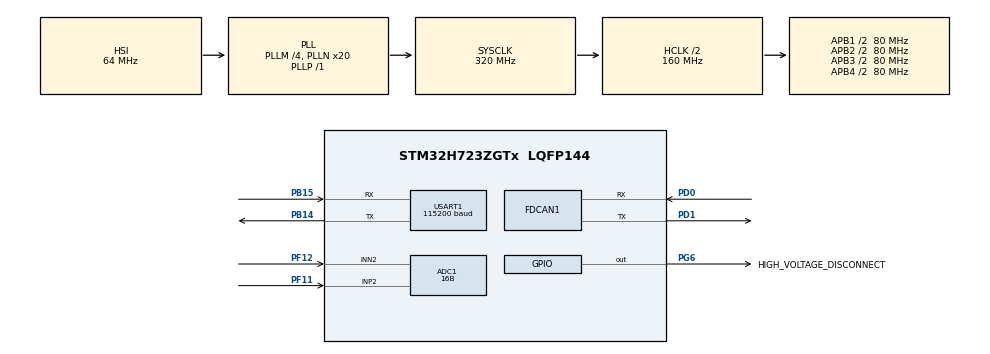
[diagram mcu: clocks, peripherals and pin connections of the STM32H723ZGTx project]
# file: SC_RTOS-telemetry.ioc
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ADC1.AWD1HighThreshold=400
ADC1.AWD1ITMode=ENABLE
ADC1.AWD1LowThreshold=0
ADC1.Channel-0\#ChannelRegularConversion=ADC_CHANNEL_2
ADC1.Channel-IN2-Differential=ADC_CHANNEL_2
ADC1.ClockPrescaler=ADC_CLOCK_ASYNC_DIV2
ADC1.ContinuousConvMode=DISABLE
ADC1.ConversionDataManagement=ADC_CONVERSIONDATA_DMA_CIRCULAR
ADC1.DiscontinuousConvMode=DISABLE
ADC1.EOCSelection=ADC_EOC_SINGLE_CONV
ADC1.EnableAnalogWatchDog1=true
ADC1.EnableAnalogWatchDog2=false
ADC1.EnableAnalogWatchDog3=false
ADC1.EnableInjectedConversion=DISABLE
ADC1.EnableRegularConversion=ENABLE
ADC1.ExternalTrigConv=ADC_EXTERNALTRIG_T2_TRGO
ADC1.ExternalTrigConvEdge=ADC_EXTERNALTRIGCONVEDGE_RISING
ADC1.LeftBitShift=ADC_LEFTBITSHIFT_NONE
ADC1.LowPowerAutoWait=DISABLE
ADC1.Mode=ADC_MODE_INDEPENDENT
ADC1.NbrOfConversion=1
ADC1.OffsetNumber-0\#ChannelRegularConversion=ADC_OFFSET_NONE
ADC1.OffsetSignedSaturation-0\#ChannelRegularConversion=DISABLE
ADC1.Overrun=ADC_OVR_DATA_PRESERVED
ADC1.OversamplingMode=DISABLE
ADC1.Rank-0\#ChannelRegularConversion=1
ADC1.Ratio=1
ADC1.Resolution=ADC_RESOLUTION_16B
ADC1.SamplingTime-0\#ChannelRegularConversion=ADC_SAMPLETIME_16CYCLES_5
ADC1.ScanConvMode=ADC_SCAN_DISABLE
ADC1.SingleDiff-0\#ChannelRegularConversion=ADC_DIFFERENTIAL_ENDED
ADC1.WatchdogChannel=ADC_CHANNEL_2
ADC1.WatchdogMode=ADC_ANALOGWATCHDOG_SINGLE_REG
ADC1.master=1
CORTEX_M7.CPU_DCache=Disabled
CORTEX_M7.CPU_ICache=Disabled
CORTEX_M7.MPU_Control=__NULL
CORTEX_M7.default_mode_Activation=1
Dma.ADC1.0.Direction=DMA_PERIPH_TO_MEMORY
Dma.ADC1.0.EventEnable=DISABLE
Dma.ADC1.0.FIFOMode=DMA_FIFOMODE_DISABLE
Dma.ADC1.0.Instance=DMA1_Stream1
Dma.ADC1.0.MemDataAlignment=DMA_MDATAALIGN_WORD
Dma.ADC1.0.MemInc=DMA_MINC_ENABLE
Dma.ADC1.0.Mode=DMA_CIRCULAR
Dma.ADC1.0.PeriphDataAlignment=DMA_PDATAALIGN_WORD
Dma.ADC1.0.PeriphInc=DMA_PINC_DISABLE
Dma.ADC1.0.Polarity=HAL_DMAMUX_REQ_GEN_RISING
Dma.ADC1.0.Priority=DMA_PRIORITY_MEDIUM
Dma.ADC1.0.RequestNumber=1
Dma.ADC1.0.SignalID=NONE
Dma.ADC1.0.SyncEnable=DISABLE
Dma.ADC1.0.SyncPolarity=HAL_DMAMUX_SYNC_NO_EVENT
Dma.ADC1.0.SyncRequestNumber=1
Dma.ADC1.0.SyncSignalID=NONE
Dma.Request0=ADC1
Dma.Request1=USART1_RX
Dma.USART1_RX.1.Direction=DMA_PERIPH_TO_MEMORY
Dma.USART1_RX.1.EventEnable=DISABLE
Dma.USART1_RX.1.FIFOMode=DMA_FIFOMODE_DISABLE
Dma.USART1_RX.1.Instance=DMA1_Stream0
Dma.USART1_RX.1.MemDataAlignment=DMA_MDATAALIGN_BYTE
Dma.USART1_RX.1.MemInc=DMA_MINC_ENABLE
Dma.USART1_RX.1.Mode=DMA_NORMAL
Dma.USART1_RX.1.PeriphDataAlignment=DMA_PDATAALIGN_BYTE
Dma.USART1_RX.1.PeriphInc=DMA_PINC_DISABLE
Dma.USART1_RX.1.Polarity=HAL_DMAMUX_REQ_GEN_RISING
Dma.USART1_RX.1.Priority=DMA_PRIORITY_LOW
Dma.USART1_RX.1.RequestNumber=1
Dma.USART1_RX.1.SignalID=NONE
Dma.USART1_RX.1.SyncEnable=DISABLE
Dma.USART1_RX.1.SyncPolarity=HAL_DMAMUX_SYNC_NO_EVENT
Dma.USART1_RX.1.SyncRequestNumber=1
Dma.USART1_RX.1.SyncSignalID=NONE
FDCAN1.CalculateBaudRateNominal=1666666
FDCAN1.CalculateTimeBitNominal=600
FDCAN1.CalculateTimeQuantumNominal=200.0
FREERTOS.HEAP_NUMBER=4
FREERTOS.INCLUDE_eTaskGetState=1
FREERTOS.INCLUDE_pcTaskGetTaskName=0
FREERTOS.INCLUDE_uxTaskGetStackHighWaterMark=1
FREERTOS.INCLUDE_uxTaskGetStackHighWaterMark2=0
FREERTOS.INCLUDE_uxTaskPriorityGet=1
FREERTOS.INCLUDE_vTaskCleanUpResources=0
FREERTOS.INCLUDE_vTaskDelay=1
FREERTOS.INCLUDE_vTaskDelayUntil=1
FREERTOS.INCLUDE_vTaskDelete=1
FREERTOS.INCLUDE_vTaskPrioritySet=1
FREERTOS.INCLUDE_vTaskSuspend=1
FREERTOS.INCLUDE_xEventGroupSetBitFromISR=0
FREERTOS.INCLUDE_xQueueGetMutexHolder=1
FREERTOS.INCLUDE_xSemaphoreGetMutexHolder=0
FREERTOS.INCLUDE_xTaskAbortDelay=0
FREERTOS.INCLUDE_xTaskGetCurrentTaskHandle=1
FREERTOS.INCLUDE_xTaskGetHandle=0
FREERTOS.INCLUDE_xTaskGetSchedulerState=1
FREERTOS.INCLUDE_xTaskResumeFromISR=1
FREERTOS.INCLUDE_xTimerPendFunctionCall=1
FREERTOS.Tasks01=defaultTask,24,128,StartDefaultTask,Default,NULL,Dynamic,NULL,NULL
FREERTOS.configCHECK_FOR_STACK_OVERFLOW=0
FREERTOS.configENABLE_BACKWARD_COMPATIBILITY=1
FREERTOS.configENABLE_FPU=0
FREERTOS.configGENERATE_RUN_TIME_STATS=0
FREERTOS.configIDLE_SHOULD_YIELD=1
FREERTOS.configLIBRARY_LOWEST_INTERRUPT_PRIORITY=15
FREERTOS.configLIBRARY_MAX_SYSCALL_INTERRUPT_PRIORITY=5
FREERTOS.configMAX_CO_ROUTINE_PRIORITIES=2
FREERTOS.configMAX_TASK_NAME_LEN=16
FREERTOS.configMINIMAL_STACK_SIZE=128
FREERTOS.configQUEUE_REGISTRY_SIZE=8
FREERTOS.configRECORD_STACK_HIGH_ADDRESS=0
FREERTOS.configTICK_RATE_HZ=1000
FREERTOS.configTIMER_QUEUE_LENGTH=10
FREERTOS.configTIMER_TASK_PRIORITY=2
FREERTOS.configTIMER_TASK_STACK_DEPTH=256
FREERTOS.configTOTAL_HEAP_SIZE=15360
FREERTOS.configUSE_APPLICATION_TASK_TAG=0
FREERTOS.configUSE_COUNTING_SEMAPHORES=1
FREERTOS.configUSE_CO_ROUTINES=0
FREERTOS.configUSE_DAEMON_TASK_STARTUP_HOOK=0
FREERTOS.configUSE_IDLE_HOOK=0
FREERTOS.configUSE_MALLOC_FAILED_HOOK=0
FREERTOS.configUSE_MUTEXES=1
FREERTOS.configUSE_NEWLIB_REENTRANT=0
FREERTOS.configUSE_OS2_EVENTFLAGS_FROM_ISR=1
FREERTOS.configUSE_OS2_MUTEX=1
FREERTOS.configUSE_OS2_THREAD_ENUMERATE=1
FREERTOS.configUSE_OS2_THREAD_FLAGS=1
FREERTOS.configUSE_OS2_THREAD_SUSPEND_RESUME=1
FREERTOS.configUSE_OS2_TIMER=1
FREERTOS.configUSE_POSIX_ERRNO=0
FREERTOS.configUSE_PREEMPTION=1
FREERTOS.configUSE_RECURSIVE_MUTEXES=1
FREERTOS.configUSE_STATS_FORMATTING_FUNCTIONS=0
FREERTOS.configUSE_TASK_NOTIFICATIONS=1
FREERTOS.configUSE_TICKLESS_IDLE=0
FREERTOS.configUSE_TICK_HOOK=0
FREERTOS.configUSE_TRACE_FACILITY=1
FREERTOS.copyHeapFile=1
IWDG1.Prescaler=IWDG_PRESCALER_4
IWDG1.Reload=4095
IWDG1.Window=4095
Mcu.Family=STM32H7
Mcu.Name=STM32H723ZGTx
Mcu.Package=LQFP144
NVIC.ADC_IRQn=true\:5\:0\:false\:false\:true\:true\:true\:true
NVIC.DMA1_Stream0_IRQn=true\:5\:0\:false\:false\:true\:true\:false\:true
NVIC.DMA1_Stream1_IRQn=true\:5\:0\:false\:false\:true\:true\:false\:true
NVIC.PriorityGroup=NVIC_PRIORITYGROUP_4
NVIC.TIM1_UP_IRQn=true\:15\:0\:false\:false\:true\:false\:true\:true
NVIC.TimeBase=TIM1_UP_IRQn
NVIC.TimeBaseIP=TIM1
PB14.Mode=Asynchronous
PB14.Signal=USART1_TX
PB15.Mode=Asynchronous
PB15.Signal=USART1_RX
PD0.Mode=FDCAN_Activate
PD0.Signal=FDCAN1_RX
PD1.Mode=FDCAN_Activate
PD1.Signal=FDCAN1_TX
PF11.Mode=IN2-Differential
PF11.Signal=ADC1_INP2
PF12.Mode=IN2-Differential
PF12.Signal=ADC1_INN2
PG6.GPIO_Label=HIGH_VOLTAGE_DISCONNECT
PG6.Signal=GPIO_Output
ProjectManager.HeapSize=0x200
ProjectManager.StackSize=0x400
ProjectManager.TargetToolchain=CMake
RCC.ADCFreq_Value=160000000
RCC.APB1Freq_Value=80000000
RCC.APB2Freq_Value=80000000
RCC.APB3Freq_Value=80000000
RCC.APB4Freq_Value=80000000
RCC.CortexFreq_Value=320000000
RCC.D1PPRE=RCC_APB3_DIV2
RCC.D2PPRE1=RCC_APB1_DIV2
RCC.D2PPRE2=RCC_APB2_DIV2
RCC.D3PPRE=RCC_APB4_DIV2
RCC.DIVM1=4
RCC.DIVM2=4
RCC.DIVN1=20
RCC.DIVN2=10
RCC.DIVP1=1
RCC.DIVP2=1
RCC.DIVQ1=4
RCC.FLatency=FLASH_LATENCY_2
RCC.HCLKFreq_Value=160000000
RCC.HPRE=RCC_HCLK_DIV2
RCC.PLL1_VCI_Range=RCC_PLL1VCIRANGE_3
RCC.PLL2FRACN=0
RCC.PLL2_VCI_Range=RCC_PLL2VCIRANGE_3
RCC.PLL2_VCO_SEL=RCC_PLL2VCOMEDIUM
RCC.PLLFRACN=0
RCC.SYSCLKFreq_VALUE=320000000
RCC.SYSCLKSource=RCC_SYSCLKSOURCE_PLLCLK
RCC.USBFreq_Value=80000000
TIM2.AutoReloadPreload=TIM_AUTORELOAD_PRELOAD_ENABLE
TIM2.ClockDivision=TIM_CLOCKDIVISION_DIV1
TIM2.CounterMode=TIM_COUNTERMODE_UP
TIM2.Period=159999
TIM2.Prescaler=0
TIM2.TIM_MasterOutputTrigger=TIM_TRGO_UPDATE
TIM2.TIM_MasterSlaveMode=TIM_MASTERSLAVEMODE_DISABLE
USART1.AutoBaudRateEnableParam=UART_ADVFEATURE_AUTOBAUDRATE_DISABLE
USART1.BaudRate=115200
USART1.ClockPrescaler=PRESCALER_DIV1
USART1.DMADisableonRxErrorParam=ADVFEATURE_DMA_ENABLEONRXERROR
USART1.DataInvertParam=ADVFEATURE_DATAINV_DISABLE
USART1.FIFOMode=FIFOMODE_DISABLE
USART1.MSBFirstParam=ADVFEATURE_MSBFIRST_DISABLE
USART1.Mode=MODE_TX_RX
USART1.OneBitSampling=UART_ONE_BIT_SAMPLE_DISABLE
USART1.OverSampling=UART_OVERSAMPLING_16
USART1.OverrunDisableParam=ADVFEATURE_OVERRUN_ENABLE
USART1.Parity=PARITY_NONE
USART1.RXFIFOThreshold=RXFIFO_THRESHOLD_1EIGHTHFULL
USART1.RxPinLevelInvertParam=ADVFEATURE_RXINV_DISABLE
USART1.StopBits=STOPBITS_1
USART1.SwapParam=ADVFEATURE_SWAP_DISABLE
USART1.TXFIFOThreshold=TXFIFO_THRESHOLD_1EIGHTHFULL
USART1.TxPinLevelInvertParam=ADVFEATURE_TXINV_DISABLE
USART1.VirtualMode-Asynchronous=VM_ASYNC
USART1.WordLength=WORDLENGTH_8B
VP_FREERTOS_VS_CMSIS_V2.Mode=CMSIS_V2
VP_IWDG1_VS_IWDG.Mode=IWDG_Activate
VP_MEMORYMAP_VS_MEMORYMAP.Mode=CurAppReg
VP_SYS_VS_tim1.Mode=TIM1
VP_TIM2_VS_ClockSourceINT.Mode=Internal
board=custom

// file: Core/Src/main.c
/* USER CODE BEGIN Header */
/**
 ******************************************************************************
 * @file           : main.c
 * @brief          : Main program body
 ******************************************************************************
 * @attention
 *
 * Copyright (c) 2026 STMicroelectronics.
 * All rights reserved.
 *
 * This software is licensed under terms that can be found in the LICENSE file
 * in the root directory of this software component.
 * If no LICENSE file comes with this software, it is provided AS-IS.
 *
 ******************************************************************************
 */
/* USER CODE END Header */
#include "main.h"
#include "cmsis_os.h"

/* USER CODE BEGIN Includes */
#include "battery.h"
#include "can.h"
#include "cmsis_os2.h"
#include "logging.h"
#include "message_buffer.h"
#include "portmacro.h"
#include "projdefs.h"
// #include "stm32h753xx.h"
#include "stm32h7xx_hal.h"
#include "stm32h7xx_hal_dma.h"
#include "stm32h7xx_hal_fdcan.h"
#include "stm32h7xx_hal_gpio.h"
#include "stm32h7xx_hal_uart.h"
#include "stm32h7xx_it.h"
#include "task.h"
#include "watchdog.h"
#include <limits.h>
#include <math.h>
#include <stdio.h>
#include <stdlib.h>
#include <string.h>

/* USER CODE END Includes */

TaskHandle_t can_handle;
TaskHandle_t battery_handle;

ADC_HandleTypeDef hadc1;
DMA_HandleTypeDef hdma_adc1;

FDCAN_HandleTypeDef hfdcan1;

IWDG_HandleTypeDef hiwdg1;

TIM_HandleTypeDef htim2;

UART_HandleTypeDef huart1;
DMA_HandleTypeDef hdma_usart1_rx;

/* Definitions for defaultTask */
osThreadId_t defaultTaskHandle;
const osThreadAttr_t defaultTask_attributes = {
    .name = "defaultTask",
    .stack_size = 128 * 4,
    .priority = (osPriority_t)osPriorityNormal,
};
/* USER CODE BEGIN PV */
osThreadId_t batteryHandle;

char howMany[128];
osStatus_t status;
char buf[128];
int32_t riemann_sum_total = 0;
volatile unsigned int current_sensor_readings[ADC_CURRENT_SAMPLE_COUNT];
volatile uint32_t overcurrent_samples_count = 0;

QueueHandle_t xLogQueue;
SemaphoreHandle_t testSemaphore = NULL;

uint32_t current_sample = 0;
uint32_t small_overcurrent_sanples_count = 0;

/* USER CODE END PV */

void SystemClock_Config(void);
static void MX_GPIO_Init(void);
static void MX_DMA_Init(void);
static void MX_FDCAN1_Init(void);
static void MX_USART1_UART_Init(void);
static void MX_IWDG1_Init(void);
static void MX_ADC1_Init(void);
static void MX_TIM2_Init(void);
void StartDefaultTask(void *argument);

int main(void) {

  /* USER CODE BEGIN 1 */
  long ispr = __get_IPSR();
  snprintf(buf, sizeof(buf), "(IPSR=%lu)\r\n", ispr);
  HAL_UART_Transmit(&huart1, (uint8_t *)buf, strlen(buf), 1000);
  /* USER CODE END 1 */

  /* MCU Configuration--------------------------------------------------------*/

  /* Reset of all peripherals, Initializes the Flash interface and the Systick.
   */
  HAL_Init();

  /* Configure the system clock */
  SystemClock_Config();

  /* Initialize all configured peripherals */
  MX_GPIO_Init();
  MX_DMA_Init();
  MX_FDCAN1_Init();
  MX_USART1_UART_Init();
  MX_IWDG1_Init();
  MX_ADC1_Init();
  MX_TIM2_Init();
  /* USER CODE BEGIN 2 */
  /* Enable Trace in Core Debug */
  CoreDebug->DEMCR |= CoreDebug_DEMCR_TRCENA_Msk;

  /* Unlock DWT and ITM registers for Cortex-M7 */
  DWT->LAR = 0xC5ACCE55;
  ITM->LAR = 0xC5ACCE55;

  /* Enable DWT Cycle Counter */
  DWT->CTRL |= DWT_CTRL_CYCCNTENA_Msk;

  /* Enable DBGMCU Trace Clock for SWO */
  DBGMCU->CR |= DBGMCU_CR_DBG_TRACECKEN;

  /* Enable ITM and all Stimulus Ports */
  ITM->TCR |= ITM_TCR_ITMENA_Msk | ITM_TCR_SYNCENA_Msk;
  ITM->TER |= 0xFFFFFFFF;

  /* Initialize & Enable Percepio Tracealyzer */
  xTraceEnable(TRC_START);

  const FDCAN_FilterTypeDef Can_ConfigFilter = {
      .IdType = FDCAN_STANDARD_ID,
      .FilterIndex = 0,
      .FilterType = FDCAN_FILTER_MASK,
      .FilterConfig = FDCAN_FILTER_TO_RXFIFO0,
      .FilterID1 = 0,
      .FilterID2 = 0x7FF
      //  .RxBufferIndex = ; not used
      //  .IsCalibrationMsg = ; not used

  };
  HAL_FDCAN_ConfigFilter(&hfdcan1, &Can_ConfigFilter);
  HAL_FDCAN_Start(&hfdcan1);

  // dma
  DMA_InitTypeDef hdma_init = {
      .Direction = DMA_PERIPH_TO_MEMORY,
      .PeriphDataAlignment = DMA_PDATAALIGN_WORD,
      .MemInc = DMA_MINC_ENABLE,
      .MemDataAlignment = DMA_MDATAALIGN_WORD,
      .Mode = DMA_CIRCULAR,
      .FIFOMode = DMA_FIFOMODE_ENABLE,
      .FIFOThreshold = DMA_FIFO_THRESHOLD_HALFFULL,

  };
  // override watchdog threshold

  hdma_usart1_rx.Instance = DMA1_Stream0;
  hdma_usart1_rx.Init = hdma_init;
  hdma_adc1.Instance = DMA1_Stream1;
  hdma_adc1.Init = hdma_init;

  DMA1_Stream1->PAR =
      (uint32_t)&(ADC1->DR); // replace with peripherial data address
  DMA1_Stream1->M0AR =
      (uint32_t)&current_sensor_readings; // begining of mem address

  /* USER CODE END 2 */

  /* Init scheduler */
  osKernelInitialize();

  /* USER CODE BEGIN RTOS_MUTEX */

  // extern SemaphoreHandle_t uartMutex;
  // uartMutex = xSemaphoreCreateMutex();
  //  why can't i do this
  //  extern SemaphoreHandle_t uartMutex = xSemaphoreCreateMutex();

  /* USER CODE END RTOS_MUTEX */

  /* USER CODE BEGIN RTOS_SEMAPHORES */
  testSemaphore = xSemaphoreCreateBinary();
  /* add semaphores, ... */
  /* USER CODE END RTOS_SEMAPHORES */

  /* USER CODE BEGIN RTOS_QUEUES */

  xLogQueue = xQueueCreate(10, sizeof(char) * MAX_MESSAGE_LEN);
  // try this later, right now focus on implementing a gatekeeper with a
  // regular queue
  //  static MessageBufferHandle_t xControlMessageBuffer;
  //  xControlMessageBuffer =
  //  xMessageBufferCreate(mbaCONTROL_MESSAGE_BUFFER_SIZE);

  /* USER CODE END RTOS_QUEUES */

  /* Create the thread(s) */
  /* creation of defaultTask */
  defaultTaskHandle =
      osThreadNew(StartDefaultTask, NULL, &defaultTask_attributes);

  /* Start scheduler */
  osKernelStart();

  /* We should never get here as control is now taken by the scheduler */

  /* Infinite loop */
  /* USER CODE BEGIN WHILE */
  while (1) {

    // snprintf(buf, sizeof(buf), "Kernel start returned: 0x%X (IPSR=%lu)\r\n",
    //        status, __get_IPSR());
    // HAL_UART_Transmit(&huart1, (uint8_t *)buf, strlen(buf), 1000);
    // HAL_Delay(1000);

    /* USER CODE END WHILE */

  }
}

void SystemClock_Config(void) {
  RCC_OscInitTypeDef RCC_OscInitStruct = {0};
  RCC_ClkInitTypeDef RCC_ClkInitStruct = {0};

  /** Supply configuration update enable
   */
  HAL_PWREx_ConfigSupply(PWR_LDO_SUPPLY);

  /** Configure the main internal regulator output voltage
   */
  __HAL_PWR_VOLTAGESCALING_CONFIG(PWR_REGULATOR_VOLTAGE_SCALE1);

  while (!__HAL_PWR_GET_FLAG(PWR_FLAG_VOSRDY)) {
  }

  /** Initializes the RCC Oscillators according to the specified parameters
   * in the RCC_OscInitTypeDef structure.
   */
  RCC_OscInitStruct.OscillatorType =
      RCC_OSCILLATORTYPE_HSI | RCC_OSCILLATORTYPE_LSI;
  RCC_OscInitStruct.HSIState = RCC_HSI_DIV1;
  RCC_OscInitStruct.HSICalibrationValue = 64;
  RCC_OscInitStruct.LSIState = RCC_LSI_ON;
  RCC_OscInitStruct.PLL.PLLState = RCC_PLL_ON;
  RCC_OscInitStruct.PLL.PLLSource = RCC_PLLSOURCE_HSI;
  RCC_OscInitStruct.PLL.PLLM = 4;
  RCC_OscInitStruct.PLL.PLLN = 20;
  RCC_OscInitStruct.PLL.PLLP = 1;
  RCC_OscInitStruct.PLL.PLLQ = 4;
  RCC_OscInitStruct.PLL.PLLR = 2;
  RCC_OscInitStruct.PLL.PLLRGE = RCC_PLL1VCIRANGE_3;
  RCC_OscInitStruct.PLL.PLLVCOSEL = RCC_PLL1VCOWIDE;
  RCC_OscInitStruct.PLL.PLLFRACN = 0;
  if (HAL_RCC_OscConfig(&RCC_OscInitStruct) != HAL_OK) {
    Error_Handler();
  }

  /** Initializes the CPU, AHB and APB buses clocks
   */
  RCC_ClkInitStruct.ClockType = RCC_CLOCKTYPE_HCLK | RCC_CLOCKTYPE_SYSCLK |
                                RCC_CLOCKTYPE_PCLK1 | RCC_CLOCKTYPE_PCLK2 |
                                RCC_CLOCKTYPE_D3PCLK1 | RCC_CLOCKTYPE_D1PCLK1;
  RCC_ClkInitStruct.SYSCLKSource = RCC_SYSCLKSOURCE_PLLCLK;
  RCC_ClkInitStruct.SYSCLKDivider = RCC_SYSCLK_DIV1;
  RCC_ClkInitStruct.AHBCLKDivider = RCC_HCLK_DIV2;
  RCC_ClkInitStruct.APB3CLKDivider = RCC_APB3_DIV2;
  RCC_ClkInitStruct.APB1CLKDivider = RCC_APB1_DIV2;
  RCC_ClkInitStruct.APB2CLKDivider = RCC_APB2_DIV2;
  RCC_ClkInitStruct.APB4CLKDivider = RCC_APB4_DIV2;

  if (HAL_RCC_ClockConfig(&RCC_ClkInitStruct, FLASH_LATENCY_2) != HAL_OK) {
    Error_Handler();
  }
}

static void MX_ADC1_Init(void) {

  ADC_MultiModeTypeDef multimode = {0};
  ADC_AnalogWDGConfTypeDef AnalogWDGConfig = {0};
  ADC_ChannelConfTypeDef sConfig = {0};

  /** Common config
   */
  hadc1.Instance = ADC1;
  hadc1.Init.ClockPrescaler = ADC_CLOCK_ASYNC_DIV2;
  hadc1.Init.Resolution = ADC_RESOLUTION_16B;
  hadc1.Init.ScanConvMode = ADC_SCAN_DISABLE;
  hadc1.Init.EOCSelection = ADC_EOC_SINGLE_CONV;
  hadc1.Init.LowPowerAutoWait = DISABLE;
  hadc1.Init.ContinuousConvMode = DISABLE;
  hadc1.Init.NbrOfConversion = 1;
  hadc1.Init.DiscontinuousConvMode = DISABLE;
  hadc1.Init.ExternalTrigConv = ADC_EXTERNALTRIG_T2_TRGO;
  hadc1.Init.ExternalTrigConvEdge = ADC_EXTERNALTRIGCONVEDGE_RISING;
  hadc1.Init.ConversionDataManagement = ADC_CONVERSIONDATA_DMA_CIRCULAR;
  hadc1.Init.Overrun = ADC_OVR_DATA_PRESERVED;
  hadc1.Init.LeftBitShift = ADC_LEFTBITSHIFT_NONE;
  hadc1.Init.OversamplingMode = DISABLE;
  hadc1.Init.Oversampling.Ratio = 1;
  if (HAL_ADC_Init(&hadc1) != HAL_OK) {
    Error_Handler();
  }

  /** Configure the ADC multi-mode
   */
  multimode.Mode = ADC_MODE_INDEPENDENT;
  if (HAL_ADCEx_MultiModeConfigChannel(&hadc1, &multimode) != HAL_OK) {
    Error_Handler();
  }

  /** Configure Analog WatchDog 1
   */
  AnalogWDGConfig.WatchdogNumber = ADC_ANALOGWATCHDOG_1;
  AnalogWDGConfig.WatchdogMode = ADC_ANALOGWATCHDOG_SINGLE_REG;
  AnalogWDGConfig.Channel = ADC_CHANNEL_2;
  AnalogWDGConfig.ITMode = ENABLE;
  AnalogWDGConfig.HighThreshold = 400;
  AnalogWDGConfig.LowThreshold = 0;
  if (HAL_ADC_AnalogWDGConfig(&hadc1, &AnalogWDGConfig) != HAL_OK) {
    Error_Handler();
  }

  /** Configure Regular Channel
   */
  sConfig.Channel = ADC_CHANNEL_2;
  sConfig.Rank = ADC_REGULAR_RANK_1;
  sConfig.SamplingTime = ADC_SAMPLETIME_16CYCLES_5;
  sConfig.SingleDiff = ADC_DIFFERENTIAL_ENDED;
  sConfig.OffsetNumber = ADC_OFFSET_NONE;
  sConfig.Offset = 0;
  sConfig.OffsetSignedSaturation = DISABLE;
  if (HAL_ADC_ConfigChannel(&hadc1, &sConfig) != HAL_OK) {
    Error_Handler();
  }
}

static void MX_FDCAN1_Init(void) {

  hfdcan1.Instance = FDCAN1;
  hfdcan1.Init.FrameFormat = FDCAN_FRAME_CLASSIC;
  hfdcan1.Init.Mode = FDCAN_MODE_NORMAL;
  hfdcan1.Init.AutoRetransmission = DISABLE;
  hfdcan1.Init.TransmitPause = DISABLE;
  hfdcan1.Init.ProtocolException = DISABLE;
  hfdcan1.Init.NominalPrescaler = 16;
  hfdcan1.Init.NominalSyncJumpWidth = 1;
  hfdcan1.Init.NominalTimeSeg1 = 1;
  hfdcan1.Init.NominalTimeSeg2 = 1;
  hfdcan1.Init.DataPrescaler = 1;
  hfdcan1.Init.DataSyncJumpWidth = 1;
  hfdcan1.Init.DataTimeSeg1 = 1;
  hfdcan1.Init.DataTimeSeg2 = 1;
  hfdcan1.Init.MessageRAMOffset = 0;
  hfdcan1.Init.StdFiltersNbr = 0;
  hfdcan1.Init.ExtFiltersNbr = 0;
  hfdcan1.Init.RxFifo0ElmtsNbr = 0;
  hfdcan1.Init.RxFifo0ElmtSize = FDCAN_DATA_BYTES_8;
  hfdcan1.Init.RxFifo1ElmtsNbr = 0;
  hfdcan1.Init.RxFifo1ElmtSize = FDCAN_DATA_BYTES_8;
  hfdcan1.Init.RxBuffersNbr = 0;
  hfdcan1.Init.RxBufferSize = FDCAN_DATA_BYTES_8;
  hfdcan1.Init.TxEventsNbr = 0;
  hfdcan1.Init.TxBuffersNbr = 0;
  hfdcan1.Init.TxFifoQueueElmtsNbr = 0;
  hfdcan1.Init.TxFifoQueueMode = FDCAN_TX_FIFO_OPERATION;
  hfdcan1.Init.TxElmtSize = FDCAN_DATA_BYTES_8;
  if (HAL_FDCAN_Init(&hfdcan1) != HAL_OK) {
    Error_Handler();
  }
}

static void MX_IWDG1_Init(void) {

  hiwdg1.Instance = IWDG1;
  hiwdg1.Init.Prescaler = IWDG_PRESCALER_4;
  hiwdg1.Init.Window = 4095;
  hiwdg1.Init.Reload = 4095;
  if (HAL_IWDG_Init(&hiwdg1) != HAL_OK) {
    Error_Handler();
  }
}

static void MX_TIM2_Init(void) {

  TIM_ClockConfigTypeDef sClockSourceConfig = {0};
  TIM_MasterConfigTypeDef sMasterConfig = {0};

  htim2.Instance = TIM2;
  htim2.Init.Prescaler = 0;
  htim2.Init.CounterMode = TIM_COUNTERMODE_UP;
  htim2.Init.Period = 159999;
  htim2.Init.ClockDivision = TIM_CLOCKDIVISION_DIV1;
  htim2.Init.AutoReloadPreload = TIM_AUTORELOAD_PRELOAD_ENABLE;
  if (HAL_TIM_Base_Init(&htim2) != HAL_OK) {
    Error_Handler();
  }
  sClockSourceConfig.ClockSource = TIM_CLOCKSOURCE_INTERNAL;
  if (HAL_TIM_ConfigClockSource(&htim2, &sClockSourceConfig) != HAL_OK) {
    Error_Handler();
  }
  sMasterConfig.MasterOutputTrigger = TIM_TRGO_UPDATE;
  sMasterConfig.MasterSlaveMode = TIM_MASTERSLAVEMODE_DISABLE;
  if (HAL_TIMEx_MasterConfigSynchronization(&htim2, &sMasterConfig) != HAL_OK) {
    Error_Handler();
  }
}

static void MX_USART1_UART_Init(void) {

  huart1.Instance = USART1;
  huart1.Init.BaudRate = 115200;
  huart1.Init.WordLength = UART_WORDLENGTH_8B;
  huart1.Init.StopBits = UART_STOPBITS_1;
  huart1.Init.Parity = UART_PARITY_NONE;
  huart1.Init.Mode = UART_MODE_TX_RX;
  huart1.Init.HwFlowCtl = UART_HWCONTROL_NONE;
  huart1.Init.OverSampling = UART_OVERSAMPLING_16;
  huart1.Init.OneBitSampling = UART_ONE_BIT_SAMPLE_DISABLE;
  huart1.Init.ClockPrescaler = UART_PRESCALER_DIV1;
  huart1.AdvancedInit.AdvFeatureInit = UART_ADVFEATURE_NO_INIT;
  if (HAL_UART_Init(&huart1) != HAL_OK) {
    Error_Handler();
  }
  if (HAL_UARTEx_SetTxFifoThreshold(&huart1, UART_TXFIFO_THRESHOLD_1_8) !=
      HAL_OK) {
    Error_Handler();
  }
  if (HAL_UARTEx_SetRxFifoThreshold(&huart1, UART_RXFIFO_THRESHOLD_1_8) !=
      HAL_OK) {
    Error_Handler();
  }
  if (HAL_UARTEx_DisableFifoMode(&huart1) != HAL_OK) {
    Error_Handler();
  }
}

static void MX_DMA_Init(void) {

  /* DMA controller clock enable */
  __HAL_RCC_DMA1_CLK_ENABLE();

  /* DMA interrupt init */
  /* DMA1_Stream0_IRQn interrupt configuration */
  HAL_NVIC_SetPriority(DMA1_Stream0_IRQn, 5, 0);
  HAL_NVIC_EnableIRQ(DMA1_Stream0_IRQn);
  /* DMA1_Stream1_IRQn interrupt configuration */
  HAL_NVIC_SetPriority(DMA1_Stream1_IRQn, 5, 0);
  HAL_NVIC_EnableIRQ(DMA1_Stream1_IRQn);
}

static void MX_GPIO_Init(void) {
  GPIO_InitTypeDef GPIO_InitStruct = {0};

  /* GPIO Ports Clock Enable */
  __HAL_RCC_GPIOF_CLK_ENABLE();
  __HAL_RCC_GPIOB_CLK_ENABLE();
  __HAL_RCC_GPIOG_CLK_ENABLE();
  __HAL_RCC_GPIOD_CLK_ENABLE();

  /*Configure GPIO pin Output Level */
  HAL_GPIO_WritePin(HIGH_VOLTAGE_DISCONNECT_GPIO_Port,
                    HIGH_VOLTAGE_DISCONNECT_Pin, GPIO_PIN_RESET);

  /*Configure GPIO pin : HIGH_VOLTAGE_DISCONNECT_Pin */
  GPIO_InitStruct.Pin = HIGH_VOLTAGE_DISCONNECT_Pin;
  GPIO_InitStruct.Mode = GPIO_MODE_OUTPUT_PP;
  GPIO_InitStruct.Pull = GPIO_NOPULL;
  GPIO_InitStruct.Speed = GPIO_SPEED_FREQ_LOW;
  HAL_GPIO_Init(HIGH_VOLTAGE_DISCONNECT_GPIO_Port, &GPIO_InitStruct);

}

void StartDefaultTask(void *argument) {
  /* USER CODE BEGIN 5 */

  xTaskCreate(Can_Handler_Task, "Can_Handler_Task", 128 * 4, (void *)1,
              osPriorityNormal, &can_handle);

  xTaskCreate(Battery_Task, "Battery_Task", 128 * 4, (void *)1, osPriorityISR,
              &battery_handle);
  //  osThreadNew(Battery_Task, NULL, &battery_attributes);
  osThreadNew(Logging_Task, NULL, &logging_attributes);
  osThreadNew(Watchdog_Task, NULL, &watchdog_attributes);
  // osThreadNew(Can_Handler_Task, NULL, &can_attributes);
  //  osThreadNew(Wifi_Task, NULL, &wifi_attributes);

  static const uint8_t tx_data_bufer[] = "x\r\n";
  static uint8_t rx_data_bufer[8];

  /* Infinite loop */
  for (;;) {
    //    osDelay(100000);
    ADC1->DR = 101;
    NVIC_EnableIRQ(ADC_IRQn);
    osDelay(1000);
    can_poll_rx(&hfdcan1, rx_data_bufer);
    can_tx(&hfdcan1, tx_data_bufer);

    osDelay(200);
    HAL_UART_Transmit(&huart1, rx_data_bufer, sizeof(rx_data_bufer), 1000);
    osDelay(200);
  }
  /* USER CODE END 5 */
}

void HAL_TIM_PeriodElapsedCallback(TIM_HandleTypeDef *htim) {
  if (htim->Instance == TIM1) {
    HAL_IncTick();
  }
}

void Error_Handler(void) {
  /* USER CODE BEGIN Error_Handler_Debug */
  /* User can add his own implementation to report the HAL error return state
   */
  __disable_irq();
  while (1) {
  }
  /* USER CODE END Error_Handler_Debug */
}

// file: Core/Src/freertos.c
/* USER CODE BEGIN Header */
/**
  ******************************************************************************
  * File Name          : freertos.c
  * Description        : Code for freertos applications
  ******************************************************************************
  * @attention
  *
  * Copyright (c) 2026 STMicroelectronics.
  * All rights reserved.
  *
  * This software is licensed under terms that can be found in the LICENSE file
  * in the root directory of this software component.
  * If no LICENSE file comes with this software, it is provided AS-IS.
  *
  ******************************************************************************
  */
/* USER CODE END Header */

#include "FreeRTOS.h"
#include "task.h"
#include "main.h"

/* USER CODE BEGIN Application */
void vApplicationIdleHook(void) {
  __asm volatile("wfi");
}
/* USER CODE END Application */
